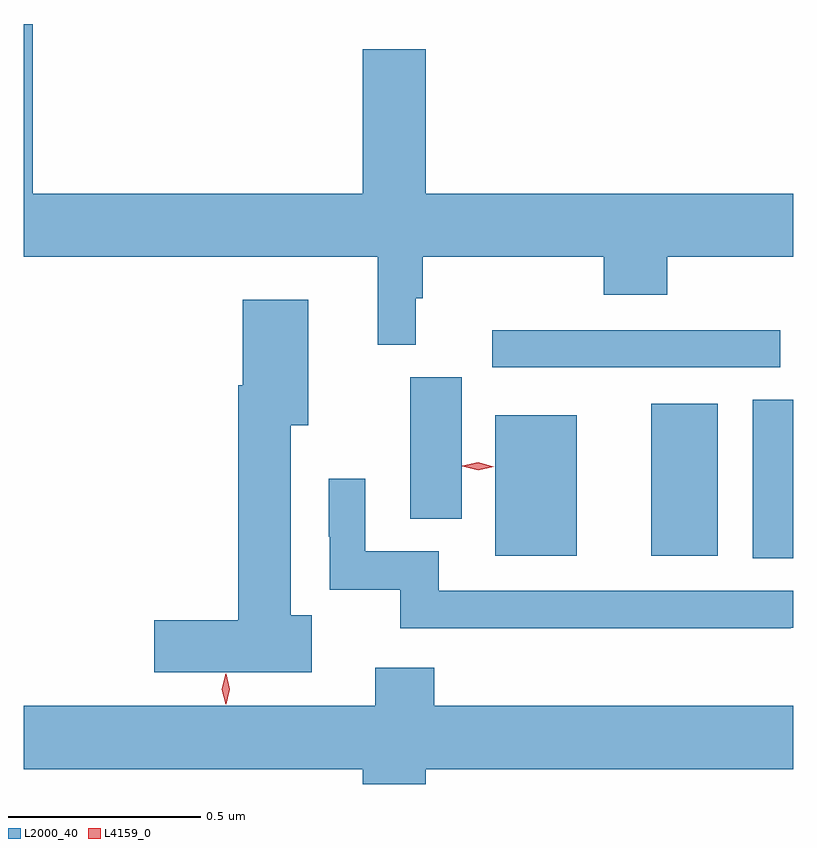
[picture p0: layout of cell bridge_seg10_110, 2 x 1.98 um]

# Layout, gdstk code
import gdstk
lib = gdstk.Library(unit=1e-6, precision=1e-09)
def R(c, l, rs):  # rectangles x0, y0, x1, y1
    for r in rs: c.add(gdstk.rectangle(r[:2], r[2:], *l))
def P(c, l, *ps):  # polygons
    for p in ps: c.add(gdstk.Polygon(p, *l))
L2000_40 = (2000, 40)
L4159_0 = (4159, 0)

bridge_seg10_110 = lib.new_cell('bridge_seg10_110')
R(bridge_seg10_110, L2000_40, [(477.71,1280.884,477.815,1281.296), (477.041,1280.891,477.253,1281.256), (477.446,1280.891,477.619,1281.286), (476.819,1280.987,476.953,1281.354), (477.033,1281.381,477.781,1281.477)])
P(bridge_seg10_110, L2000_40, [(476.834,1281.56),(476.852,1281.56),(476.852,1281.668),(477.323,1281.668),(477.323,1281.569),(477.488,1281.569),(477.488,1281.668),(477.815,1281.668),(477.815,1281.832),(476.86,1281.832),(476.86,1282.207),(476.696,1282.207),(476.696,1281.832),(475.838,1281.832),(475.838,1282.273),(475.815,1282.273),(475.815,1281.668),(476.735,1281.668),(476.735,1281.439),(476.834,1281.439)],
  [(476.563,1280.736),(476.509,1280.736),(476.509,1281.23),(476.554,1281.23),(476.554,1281.556),(476.384,1281.556),(476.384,1281.334),(476.372,1281.334),(476.372,1280.723),(476.154,1280.723),(476.154,1280.588),(476.563,1280.588)],
  [(477.809,1280.703),(477.815,1280.703),(477.815,1280.799),(476.893,1280.799),(476.893,1280.902),(476.703,1280.902),(476.703,1281.091),(476.607,1281.091),(476.607,1280.94),(476.61,1280.94),(476.61,1280.802),(476.794,1280.802),(476.794,1280.702),(477.809,1280.702)],
  [(476.86,1280.336),(477.815,1280.336),(477.815,1280.5),(476.882,1280.5),(476.882,1280.599),(476.729,1280.599),(476.729,1280.5),(475.815,1280.5),(475.815,1280.336),(476.696,1280.336),(476.696,1280.297),(476.86,1280.297)])
P(bridge_seg10_110, L4159_0, [(476.996,1281.113),(476.955,1281.123),(476.955,1281.124),(476.955,1281.124),(476.996,1281.133),(477.036,1281.122),(477.036,1281.122),(477.036,1281.122)],
  [(476.34,1280.504),(476.34,1280.504),(476.33,1280.544),(476.34,1280.584),(476.34,1280.584),(476.341,1280.584),(476.35,1280.544),(476.341,1280.504)])

lib.write_gds('bridge_seg10_110.gds')
